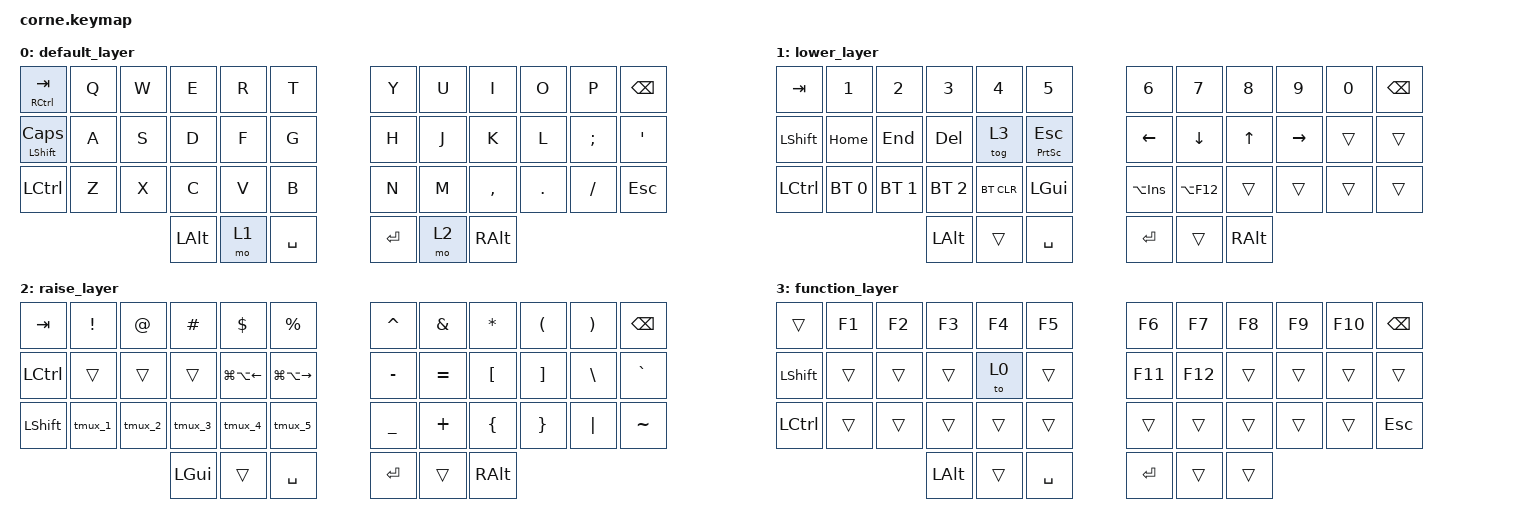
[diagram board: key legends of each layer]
/*
 * Copyright (c) 2020 The ZMK Contributors
 *
 * SPDX-License-Identifier: MIT
 */

#include <behaviors.dtsi>
#include <dt-bindings/zmk/bt.h>
#include <dt-bindings/zmk/keys.h>

/ {
    macros {
        tmux_1: tmux_1 {
            compatible = "zmk,behavior-macro";
            #binding-cells = <0>;
            bindings =
                <&macro_press>,
                <&kp LC(A) &kp NUMBER_1>,
                <&macro_release>,
                <&kp LC(A) &kp NUMBER_1>;

            label = "TMUX_1";
        };

        tmux_2: tmux_2 {
            compatible = "zmk,behavior-macro";
            #binding-cells = <0>;
            bindings =
                <&macro_press>,
                <&kp LC(A) &kp NUMBER_2>,
                <&macro_release>,
                <&kp LC(A) &kp NUMBER_2>;

            label = "TMUX_2";
        };

        tmux_3: tmux_3 {
            compatible = "zmk,behavior-macro";
            #binding-cells = <0>;
            bindings =
                <&macro_press>,
                <&kp LC(A) &kp NUMBER_3>,
                <&macro_release>,
                <&kp LC(A) &kp NUMBER_3>;

            label = "TMUX_3";
        };

        tmux_4: tmux_4 {
            compatible = "zmk,behavior-macro";
            #binding-cells = <0>;
            bindings =
                <&macro_press>,
                <&kp LC(A) &kp NUMBER_4>,
                <&macro_release>,
                <&kp LC(A) &kp NUMBER_4>;

            label = "TMUX_4";
        };

        tmux_5: tmux_5 {
            compatible = "zmk,behavior-macro";
            #binding-cells = <0>;
            bindings =
                <&macro_press>,
                <&kp LC(A) &kp NUMBER_5>,
                <&macro_release>,
                <&kp LC(A) &kp NUMBER_5>;

            label = "TMUX_5";
        };
    };

    keymap {
        compatible = "zmk,keymap";

        default_layer {
            bindings = <
&mt RCTRL TAB       &kp Q  &kp W  &kp E     &kp R  &kp T        &kp Y    &kp U  &kp I      &kp O    &kp P     &kp BSPC
&mt LSHFT CAPSLOCK  &kp A  &kp S  &kp D     &kp F  &kp G        &kp H    &kp J  &kp K      &kp L    &kp SEMI  &kp SQT
&kp LCTRL           &kp Z  &kp X  &kp C     &kp V  &kp B        &kp N    &kp M  &kp COMMA  &kp DOT  &kp FSLH  &kp ESC
                                  &kp LALT  &mo 1  &kp SPACE    &kp RET  &mo 2  &kp RALT
            >;
        };

        lower_layer {
            bindings = <
&kp TAB    &kp N1        &kp N2        &kp N3        &kp N4      &kp N5                 &kp N6          &kp N7       &kp N8    &kp N9     &kp N0  &kp BSPC
&kp LSHFT  &kp HOME      &kp END       &kp DELETE    &tog 3      &mt PRINTSCREEN ESC    &kp LEFT        &kp DOWN     &kp UP    &kp RIGHT  &trans  &trans
&kp LCTRL  &bt BT_SEL 0  &bt BT_SEL 1  &bt BT_SEL 2  &bt BT_CLR  &kp LEFT_GUI           &kp LA(INSERT)  &kp LA(F12)  &trans    &trans     &trans  &trans
                                       &kp LALT      &trans      &kp SPACE              &kp RET         &trans       &kp RALT
            >;
        };

        raise_layer {
            bindings = <
&kp TAB    &kp EXCL  &kp AT   &kp HASH  &kp DLLR                &kp PRCNT            &kp CARET  &kp AMPS   &kp ASTRK  &kp LPAR  &kp RPAR  &kp BSPC
&kp LCTRL  &trans    &trans   &trans    &kp LG(LA(LEFT_ARROW))  &kp LG(LA(RIGHT))    &kp MINUS  &kp EQUAL  &kp LBKT   &kp RBKT  &kp BSLH  &kp GRAVE
&kp LSHFT  &tmux_1   &tmux_2  &tmux_3   &tmux_4                 &tmux_5              &kp UNDER  &kp PLUS   &kp LBRC   &kp RBRC  &kp PIPE  &kp TILDE
                              &kp LGUI  &trans                  &kp SPACE            &kp RET    &trans     &kp RALT
            >;
        };

        function_layer {
            bindings = <
&trans     &kp F1  &kp F2  &kp F3    &kp F4  &kp F5       &kp F6     &kp F7   &kp F8  &kp F9  &kp F10  &kp BSPC
&kp LSHFT  &trans  &trans  &trans    &to 0   &trans       &kp F11    &kp F12  &trans  &trans  &trans   &trans
&kp LCTRL  &trans  &trans  &trans    &trans  &trans       &trans     &trans   &trans  &trans  &trans   &kp ESC
                           &kp LALT  &trans  &kp SPACE    &kp ENTER  &trans   &trans
            >;
        };
    };
};
